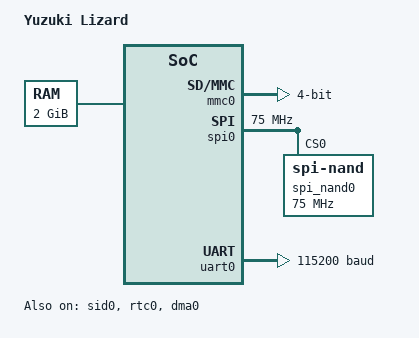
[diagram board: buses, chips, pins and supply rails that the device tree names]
// SPDX-License-Identifier: GPL-2.0+
/dts-v1/;

#include <dt-bindings/dram/dram-param.h>

#include <dt-bindings/gpio/sunxi-gpio.h>
#include <dt-bindings/soc/sun8iw21.h>

/ {
	#address-cells = <1>;
	#size-cells = <1>;
	model = "Yuzuki Lizard";
	compatible = "syterkit,yuzukilizard";

	aliases {
		sid0 = &sid0;
		dma0 = &dma0;
		dram0 = &dram0;
		mmc0 = &mmc0;
		rtc0 = &rtc0;
		spi0 = &spi0;
		spi-nand0 = &spi_nand0;
	};

	chosen {
		stdout-path = &uart0;
	};

	dram_memory: memory@40000000 {
		device_type = "memory";
		reg = <0x40000000 0x80000000>;
	};

	dram0: dram-controller {
		compatible = "allwinner,sunxi-dram";
		allwinner,dram-parameters =
			<0x00000210>,
			<SUNXI_DRAM_DDR2>,
			<0x007b7bf9>,
			<0x00000000>,
			<0x000000d2>,
			<0x00000000>,
			<0x00000e73>,
			<0x00000002>,
			<0x00000000>,
			<0x00000000>,
			<0x00471992>,
			<0x0131a10c>,
			<0x00057041>,
			<0xb4787896>,
			<0x00000000>,
			<0x48484848>,
			<0x00000048>,
			<0x1621121e>,
			<0x00000000>,
			<0x00000000>,
			<0x00000000>,
			<0x00000022>,
			<0x00000077>,
			<0x34000100>,
			<0x00000000>, <0x00000000>, <0x00000000>, <0x00000000>,
			<0x00000000>, <0x00000000>, <0x00000000>, <0x00000000>;
		status = "okay";
	};

	pio: pinctrl@2000000 {
		compatible = "allwinner,sunxi-pinctrl";
		reg = <SUNXI_PIO_BASE 0x1000>;
		allwinner,bank-base = <SUNXI_GPIO_PORT_A>;
		allwinner,bank-count = <11>;
		gpio-controller;
		#gpio-cells = <3>;

		mmc0_pins: mmc0-pins {
			allwinner,pins =
				<SUNXI_GPIO_PORT_F 2 2>,
				<SUNXI_GPIO_PORT_F 3 2>,
				<SUNXI_GPIO_PORT_F 1 2>,
				<SUNXI_GPIO_PORT_F 0 2>,
				<SUNXI_GPIO_PORT_F 5 2>,
				<SUNXI_GPIO_PORT_F 4 2>;
		};

		spi0_pins: spi0-pins {
			allwinner,pins =
				<SUNXI_GPIO_PORT_C 1 4>,
				<SUNXI_GPIO_PORT_C 0 4>,
				<SUNXI_GPIO_PORT_C 2 4>,
				<SUNXI_GPIO_PORT_C 3 4>,
				<SUNXI_GPIO_PORT_C 4 4>,
				<SUNXI_GPIO_PORT_C 5 4>;
		};

		uart0_pins: uart0-pins {
			allwinner,pins =
				<SUNXI_GPIO_PORT_H 9 5>,
				<SUNXI_GPIO_PORT_H 10 5>;
		};
	};

	reserved-memory {
		#address-cells = <1>;
		#size-cells = <1>;
		ranges;

		mmc0_dma: dma-descriptors@40700000 {
			reg = <0x40700000 0x100000>;
			no-map;
		};
	};

	soc {
		compatible = "simple-bus";
		#address-cells = <1>;
		#size-cells = <1>;
		ranges;

		sid0: efuse@3006000 {
			compatible = "allwinner,sunxi-sid";
			reg = <SUNXI_SID_BASE 0x400>;
			allwinner,efuse-hv-switch = <(SUNXI_RTC_BASE + 0x204)>;
			status = "okay";
		};

		rtc0: rtc@7090100 {
			compatible = "allwinner,sunxi-rtc";
			reg = <SUNXI_RTC_DATA_BASE 0x100>;
			status = "okay";
		};

		dma0: dma-controller@3002000 {
			compatible = "allwinner,sunxi-dma";
			reg = <SUNXI_DMA_BASE 0x1000>;
			#dma-cells = <1>;
			allwinner,mbus-clock-gate = <(SUNXI_CCM_BASE + 0x804) 0>;
			allwinner,clock-gate = <(SUNXI_CCM_BASE + 0x70c) 0>;
			allwinner,reset = <(SUNXI_CCM_BASE + 0x70c) 16>;
			status = "okay";
		};

		mmc0: mmc@4020000 {
			compatible = "allwinner,sunxi-mmc";
			reg = <SUNXI_SMHC0_BASE 0x1000>;
			label = "sdhci0";
			allwinner,mmc-id = <0>;
			bus-width = <4>;
			max-frequency = <50000000>;
			memory-region = <&mmc0_dma>;
			allwinner,clock-gate = <(SUNXI_CCM_BASE + 0x84c) 0>;
			allwinner,reset = <(SUNXI_CCM_BASE + 0x84c) 16>;
			allwinner,module-clock =
				<(SUNXI_CCM_BASE + 0x830) 8 0 1>;
			allwinner,clock-source-rates =
				<24000000 400000000 300000000 0>;
			pinctrl-names = "default";
			pinctrl-0 = <&mmc0_pins>;
			status = "okay";
		};

		spi0: spi@4025000 {
			compatible = "allwinner,sunxi-spi";
			#address-cells = <1>;
			#size-cells = <0>;
			allwinner,spi-id = <0>;
			reg = <SUNXI_SPI0_BASE 0x1000>;
			clock-frequency = <75000000>;
			allwinner,module-clock = <(SUNXI_CCM_BASE + 0x940) 1 8 300000000 0>;
			allwinner,clock-gate = <(SUNXI_CCM_BASE + 0x96c) 0>;
			allwinner,reset = <(SUNXI_CCM_BASE + 0x96c) 16>;
			dmas = <&dma0 22>;
			dma-names = "rx";
			pinctrl-names = "default";
			pinctrl-0 = <&spi0_pins>;
			status = "okay";

			spi_nand0: flash@0 {
				compatible = "spi-nand";
				reg = <0>;
				spi-max-frequency = <75000000>;
			};
		};

		uart0: serial@2500000 {
			compatible = "allwinner,sunxi-uart";
			reg = <SUNXI_UART0_BASE 0x400>;
			current-speed = <115200>;
			clock-frequency = <24000000>;
			allwinner,uart-id = <0>;
			allwinner,clock-gate = <(SUNXI_CCM_BASE + 0x90c) 0>;
			allwinner,reset = <(SUNXI_CCM_BASE + 0x90c) 16>;
			pinctrl-names = "default";
			pinctrl-0 = <&uart0_pins>;
			status = "okay";
		};
	};
};
